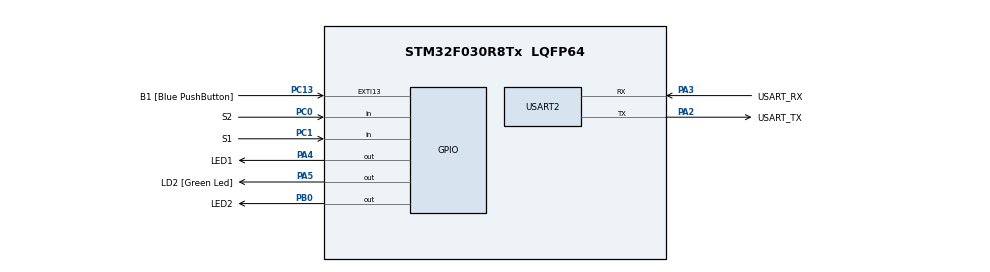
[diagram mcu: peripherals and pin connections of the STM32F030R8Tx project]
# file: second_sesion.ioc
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Mcu.Family=STM32F0
Mcu.Name=STM32F030R8Tx
Mcu.Package=LQFP64
PA13.GPIO_Label=TMS
PA13.Mode=Serial_Wire
PA13.Signal=SYS_SWDIO
PA14.GPIO_Label=TCK
PA14.Mode=Serial_Wire
PA14.Signal=SYS_SWCLK
PA2.GPIO_Label=USART_TX
PA2.GPIO_Mode=GPIO_MODE_AF_PP
PA2.GPIO_PuPd=GPIO_NOPULL
PA2.GPIO_Speed=GPIO_SPEED_FREQ_LOW
PA2.Mode=Asynchronous
PA2.Signal=USART2_TX
PA3.GPIO_Label=USART_RX
PA3.GPIO_Mode=GPIO_MODE_AF_PP
PA3.GPIO_PuPd=GPIO_NOPULL
PA3.GPIO_Speed=GPIO_SPEED_FREQ_LOW
PA3.Mode=Asynchronous
PA3.Signal=USART2_RX
PA4.GPIO_Label=LED1
PA4.Signal=GPIO_Output
PA5.GPIO_Label=LD2 [Green Led]
PA5.GPIO_Mode=GPIO_MODE_OUTPUT_PP
PA5.GPIO_PuPd=GPIO_NOPULL
PA5.GPIO_Speed=GPIO_SPEED_FREQ_LOW
PA5.Signal=GPIO_Output
PB0.GPIO_Label=LED2
PB0.Signal=GPIO_Output
PC0.GPIO_Label=S2
PC0.GPIO_PuPd=GPIO_PULLUP
PC0.Signal=GPIO_Input
PC1.GPIO_Label=S1
PC1.GPIO_PuPd=GPIO_PULLUP
PC1.Signal=GPIO_Input
PC13.GPIO_Label=B1 [Blue PushButton]
PC13.GPIO_ModeDefaultEXTI=GPIO_MODE_IT_FALLING
PC13.Signal=GPXTI13
PC14-OSC32_IN.Mode=LSE-External-Oscillator
PC14-OSC32_IN.Signal=RCC_OSC32_IN
PC15-OSC32_OUT.Mode=LSE-External-Oscillator
PC15-OSC32_OUT.Signal=RCC_OSC32_OUT
PF0-OSC_IN.Mode=HSE-External-Clock-Source
PF0-OSC_IN.Signal=RCC_OSC_IN
PF1-OSC_OUT.Signal=RCC_OSC_OUT
ProjectManager.HeapSize=0x200
ProjectManager.StackSize=0x400
ProjectManager.TargetToolchain=STM32CubeIDE
RCC.AHBFreq_Value=48000000
RCC.APB1Freq_Value=48000000
RCC.APB1TimFreq_Value=48000000
RCC.HCLKFreq_Value=48000000
RCC.PLLMUL=RCC_PLL_MUL12
RCC.SYSCLKFreq_VALUE=48000000
RCC.SYSCLKSource=RCC_SYSCLKSOURCE_PLLCLK
USART2.VirtualMode-Asynchronous=VM_ASYNC
board=NUCLEO-F030R8

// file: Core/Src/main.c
/* USER CODE BEGIN Header */
/**
  ******************************************************************************
  * @file           : main.c
  * @brief          : Main program body
  ******************************************************************************
  * @attention
  *
  * Copyright (c) 2024 STMicroelectronics.
  * All rights reserved.
  *
  * This software is licensed under terms that can be found in the LICENSE file
  * in the root directory of this software component.
  * If no LICENSE file comes with this software, it is provided AS-IS.
  *
  ******************************************************************************
  */
/* USER CODE END Header */
#include "main.h"

/* USER CODE BEGIN PD */
#define  LED_TIME_BLINK 300
#define LED_TIME_SHORT 100
#define LED_TIME_LONG  1000
#define BUTTON_DELAY_SHORT 5
/* USER CODE END PD */

void SystemClock_Config(void);
static void MX_GPIO_Init(void);
static void MX_USART2_UART_Init(void);

/* USER CODE BEGIN 0 */
volatile uint32_t Tick;
void blink(void)
{
	static uint32_t delay;

	if (Tick > delay + LED_TIME_BLINK) {
		LL_GPIO_TogglePin(LED1_GPIO_Port,LED1_Pin);
		delay = Tick;
	}
}
void button(void){
	static uint32_t off_time;
	static uint32_t dellay;
	if (Tick > off_time) {
		LL_GPIO_ResetOutputPin(LED2_GPIO_Port, LED2_Pin);
	}
	static uint16_t debounce = 0xFFFF;
	static uint32_t old_s2;
	uint32_t new_s2 = LL_GPIO_IsInputPinSet(S2_GPIO_Port, S2_Pin);
	if (old_s2 && !new_s2) { // falling edge
		off_time = Tick + LED_TIME_SHORT;
		LL_GPIO_SetOutputPin(LED2_GPIO_Port, LED2_Pin);
	}
	old_s2 = new_s2;
	static uint32_t ispressed = LL_GPIO_IsInputPinSet(S1_GPIO_Port, S1_Pin);
	if (Tick > dellay + BUTTON_DELAY_SHORT ){
		debounce<<=1;
		if (ispressed){

		}
		}
//		static uint32_t old_s1;
//		uint32_t new_s1 = LL_GPIO_IsInputPinSet(S1_GPIO_Port, S1_Pin);
//		if (old_s1 && !new_s1) { // falling edge
//			off_time = Tick + LED_TIME_LONG;
//			LL_GPIO_SetOutputPin(LED2_GPIO_Port, LED2_Pin);
//		}
//		old_s1 = new_s1;

	}

/* USER CODE END 0 */

int main(void)
{

  /* MCU Configuration--------------------------------------------------------*/

  /* Reset of all peripherals, Initializes the Flash interface and the Systick. */
  LL_APB1_GRP2_EnableClock(LL_APB1_GRP2_PERIPH_SYSCFG);
  LL_APB1_GRP1_EnableClock(LL_APB1_GRP1_PERIPH_PWR);

  /* Configure the system clock */
  SystemClock_Config();

  /* Initialize all configured peripherals */
  MX_GPIO_Init();
  MX_USART2_UART_Init();
  /* USER CODE BEGIN 2 */
  LL_SYSTICK_EnableIT();
  /* USER CODE END 2 */

  /* Infinite loop */
  /* USER CODE BEGIN WHILE */
  while (1)

  {
	  blink();
	  button();

    /* USER CODE END WHILE */

  }
}

void SystemClock_Config(void)
{
  LL_FLASH_SetLatency(LL_FLASH_LATENCY_1);
  while(LL_FLASH_GetLatency() != LL_FLASH_LATENCY_1)
  {
  }
  LL_RCC_HSI_Enable();

   /* Wait till HSI is ready */
  while(LL_RCC_HSI_IsReady() != 1)
  {

  }
  LL_RCC_HSI_SetCalibTrimming(16);
  LL_RCC_PLL_ConfigDomain_SYS(LL_RCC_PLLSOURCE_HSI_DIV_2, LL_RCC_PLL_MUL_12);
  LL_RCC_PLL_Enable();

   /* Wait till PLL is ready */
  while(LL_RCC_PLL_IsReady() != 1)
  {

  }
  LL_RCC_SetAHBPrescaler(LL_RCC_SYSCLK_DIV_1);
  LL_RCC_SetAPB1Prescaler(LL_RCC_APB1_DIV_1);
  LL_RCC_SetSysClkSource(LL_RCC_SYS_CLKSOURCE_PLL);

   /* Wait till System clock is ready */
  while(LL_RCC_GetSysClkSource() != LL_RCC_SYS_CLKSOURCE_STATUS_PLL)
  {

  }
  LL_Init1msTick(48000000);
  LL_SetSystemCoreClock(48000000);
}

static void MX_USART2_UART_Init(void)
{

  LL_USART_InitTypeDef USART_InitStruct = {0};

  LL_GPIO_InitTypeDef GPIO_InitStruct = {0};

  /* Peripheral clock enable */
  LL_APB1_GRP1_EnableClock(LL_APB1_GRP1_PERIPH_USART2);

  LL_AHB1_GRP1_EnableClock(LL_AHB1_GRP1_PERIPH_GPIOA);
  /**USART2 GPIO Configuration
  PA2   ------> USART2_TX
  PA3   ------> USART2_RX
  */
  GPIO_InitStruct.Pin = USART_TX_Pin;
  GPIO_InitStruct.Mode = LL_GPIO_MODE_ALTERNATE;
  GPIO_InitStruct.Speed = LL_GPIO_SPEED_FREQ_LOW;
  GPIO_InitStruct.OutputType = LL_GPIO_OUTPUT_PUSHPULL;
  GPIO_InitStruct.Pull = LL_GPIO_PULL_NO;
  GPIO_InitStruct.Alternate = LL_GPIO_AF_1;
  LL_GPIO_Init(USART_TX_GPIO_Port, &GPIO_InitStruct);

  GPIO_InitStruct.Pin = USART_RX_Pin;
  GPIO_InitStruct.Mode = LL_GPIO_MODE_ALTERNATE;
  GPIO_InitStruct.Speed = LL_GPIO_SPEED_FREQ_LOW;
  GPIO_InitStruct.OutputType = LL_GPIO_OUTPUT_PUSHPULL;
  GPIO_InitStruct.Pull = LL_GPIO_PULL_NO;
  GPIO_InitStruct.Alternate = LL_GPIO_AF_1;
  LL_GPIO_Init(USART_RX_GPIO_Port, &GPIO_InitStruct);

  USART_InitStruct.BaudRate = 38400;
  USART_InitStruct.DataWidth = LL_USART_DATAWIDTH_8B;
  USART_InitStruct.StopBits = LL_USART_STOPBITS_1;
  USART_InitStruct.Parity = LL_USART_PARITY_NONE;
  USART_InitStruct.TransferDirection = LL_USART_DIRECTION_TX_RX;
  USART_InitStruct.HardwareFlowControl = LL_USART_HWCONTROL_NONE;
  USART_InitStruct.OverSampling = LL_USART_OVERSAMPLING_16;
  LL_USART_Init(USART2, &USART_InitStruct);
  LL_USART_DisableIT_CTS(USART2);
  LL_USART_ConfigAsyncMode(USART2);
  LL_USART_Enable(USART2);

}

static void MX_GPIO_Init(void)
{
  LL_EXTI_InitTypeDef EXTI_InitStruct = {0};
  LL_GPIO_InitTypeDef GPIO_InitStruct = {0};

  /* GPIO Ports Clock Enable */
  LL_AHB1_GRP1_EnableClock(LL_AHB1_GRP1_PERIPH_GPIOC);
  LL_AHB1_GRP1_EnableClock(LL_AHB1_GRP1_PERIPH_GPIOF);
  LL_AHB1_GRP1_EnableClock(LL_AHB1_GRP1_PERIPH_GPIOA);
  LL_AHB1_GRP1_EnableClock(LL_AHB1_GRP1_PERIPH_GPIOB);

  /**/
  LL_GPIO_ResetOutputPin(LED1_GPIO_Port, LED1_Pin);

  /**/
  LL_GPIO_ResetOutputPin(LD2_GPIO_Port, LD2_Pin);

  /**/
  LL_GPIO_ResetOutputPin(LED2_GPIO_Port, LED2_Pin);

  /**/
  LL_SYSCFG_SetEXTISource(LL_SYSCFG_EXTI_PORTC, LL_SYSCFG_EXTI_LINE13);

  /**/
  LL_GPIO_SetPinPull(B1_GPIO_Port, B1_Pin, LL_GPIO_PULL_NO);

  /**/
  LL_GPIO_SetPinMode(B1_GPIO_Port, B1_Pin, LL_GPIO_MODE_INPUT);

  /**/
  EXTI_InitStruct.Line_0_31 = LL_EXTI_LINE_13;
  EXTI_InitStruct.LineCommand = ENABLE;
  EXTI_InitStruct.Mode = LL_EXTI_MODE_IT;
  EXTI_InitStruct.Trigger = LL_EXTI_TRIGGER_FALLING;
  LL_EXTI_Init(&EXTI_InitStruct);

  /**/
  GPIO_InitStruct.Pin = S2_Pin;
  GPIO_InitStruct.Mode = LL_GPIO_MODE_INPUT;
  GPIO_InitStruct.Pull = LL_GPIO_PULL_UP;
  LL_GPIO_Init(S2_GPIO_Port, &GPIO_InitStruct);

  /**/
  GPIO_InitStruct.Pin = S1_Pin;
  GPIO_InitStruct.Mode = LL_GPIO_MODE_INPUT;
  GPIO_InitStruct.Pull = LL_GPIO_PULL_UP;
  LL_GPIO_Init(S1_GPIO_Port, &GPIO_InitStruct);

  /**/
  GPIO_InitStruct.Pin = LED1_Pin;
  GPIO_InitStruct.Mode = LL_GPIO_MODE_OUTPUT;
  GPIO_InitStruct.Speed = LL_GPIO_SPEED_FREQ_LOW;
  GPIO_InitStruct.OutputType = LL_GPIO_OUTPUT_PUSHPULL;
  GPIO_InitStruct.Pull = LL_GPIO_PULL_NO;
  LL_GPIO_Init(LED1_GPIO_Port, &GPIO_InitStruct);

  /**/
  GPIO_InitStruct.Pin = LD2_Pin;
  GPIO_InitStruct.Mode = LL_GPIO_MODE_OUTPUT;
  GPIO_InitStruct.Speed = LL_GPIO_SPEED_FREQ_LOW;
  GPIO_InitStruct.OutputType = LL_GPIO_OUTPUT_PUSHPULL;
  GPIO_InitStruct.Pull = LL_GPIO_PULL_NO;
  LL_GPIO_Init(LD2_GPIO_Port, &GPIO_InitStruct);

  /**/
  GPIO_InitStruct.Pin = LED2_Pin;
  GPIO_InitStruct.Mode = LL_GPIO_MODE_OUTPUT;
  GPIO_InitStruct.Speed = LL_GPIO_SPEED_FREQ_LOW;
  GPIO_InitStruct.OutputType = LL_GPIO_OUTPUT_PUSHPULL;
  GPIO_InitStruct.Pull = LL_GPIO_PULL_NO;
  LL_GPIO_Init(LED2_GPIO_Port, &GPIO_InitStruct);

}

void Error_Handler(void)
{
  __disable_irq();
  while (1)
  {
  }
}
